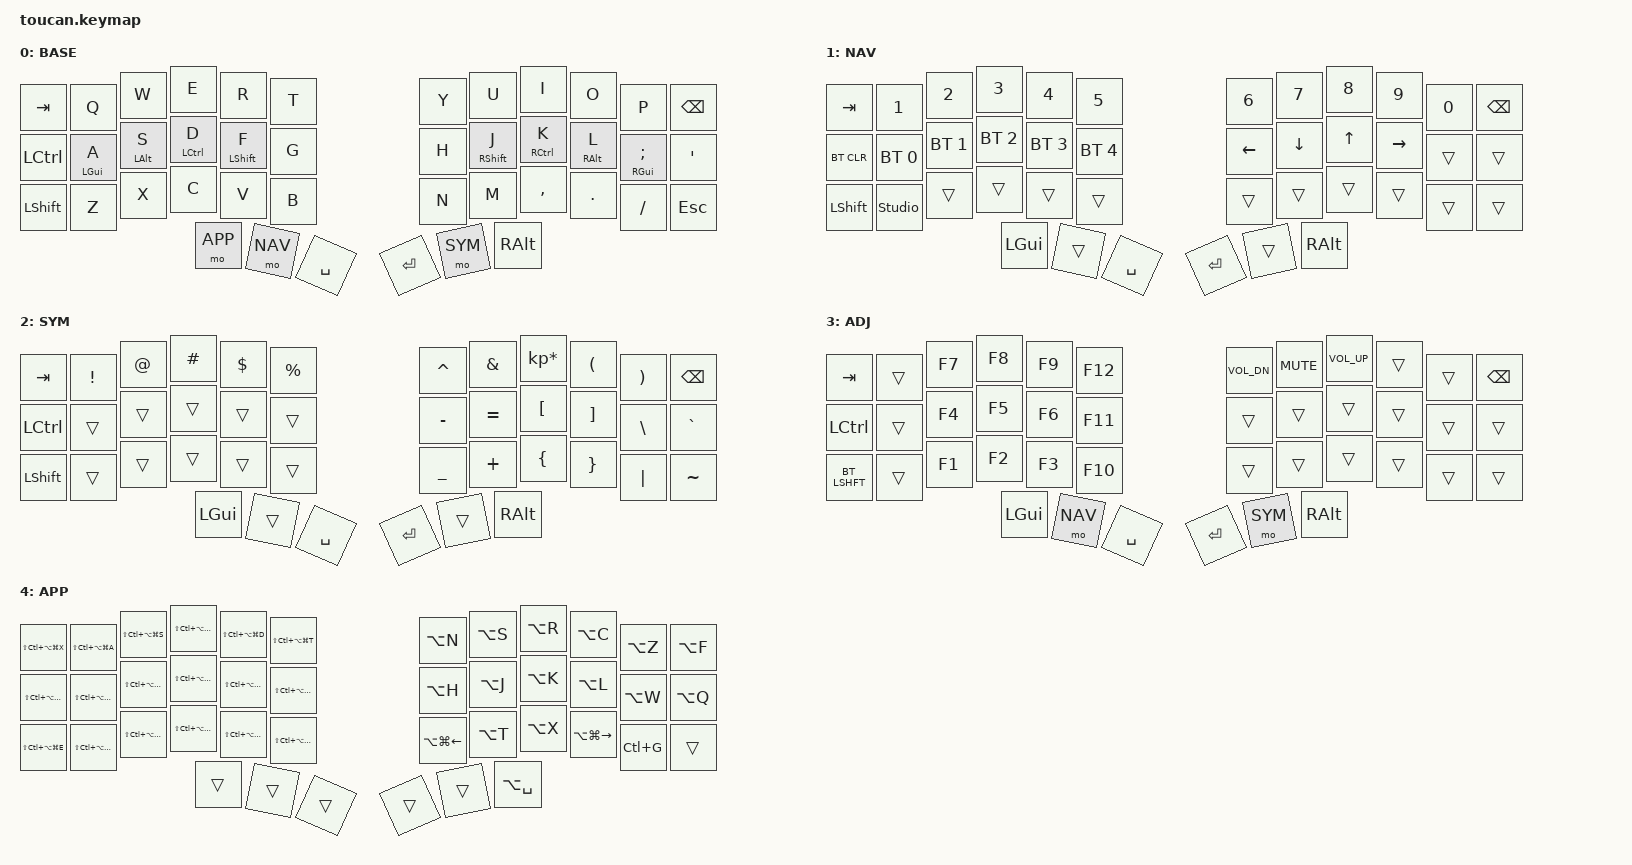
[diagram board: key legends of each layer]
#include <behaviors.dtsi>
#include <dt-bindings/zmk/keys.h>
#include <dt-bindings/zmk/bt.h>
#include <dt-bindings/zmk/outputs.h>

#define BASE 0
#define NAV  1
#define SYM  2
#define ADJ  3
#define APP  4

/ {
    behaviors {
        hml: home_row_mod_left {
            compatible = "zmk,behavior-hold-tap";
            #binding-cells = <2>;
            flavor = "balanced";
            tapping-term-ms = <280>;
            quick-tap-ms = <175>;
            require-prior-idle-ms = <150>;
            bindings = <&kp>, <&kp>;
            hold-trigger-key-positions = <6 7 8 9 10 11 18 19 20 21 22 23 30 31 32 33 34 35 39 40 41>;
            hold-trigger-on-release;
        };
        hmr: home_row_mod_right {
            compatible = "zmk,behavior-hold-tap";
            #binding-cells = <2>;
            flavor = "balanced";
            tapping-term-ms = <280>;
            quick-tap-ms = <175>;
            require-prior-idle-ms = <150>;
            bindings = <&kp>, <&kp>;
            hold-trigger-key-positions = <0 1 2 3 4 5 12 13 14 15 16 17 24 25 26 27 28 29 36 37 38>;
            hold-trigger-on-release;
        };
    };

    conditional_layers {
        compatible = "zmk,conditional-layers";
        tri_layer {
            if-layers = <1 2>;
            then-layer = <3>;
        };
    };

    keymap {
        compatible = "zmk,keymap";

        base {
            display-name = "BASE";
            bindings = <
                &kp TAB   &kp Q &kp W &kp E &kp R &kp T   &kp Y &kp U  &kp I     &kp O   &kp P    &kp BSPC
                &kp LCTRL &hml LGUI A &hml LALT S &hml LCTRL D &hml LSHFT F &kp G   &kp H &hmr RSHFT J  &hmr RCTRL K     &hmr RALT L   &hmr RGUI SEMI &kp SQT
                &kp LSHFT &kp Z &kp X &kp C &kp V &kp B   &kp N &kp M  &kp COMMA &kp DOT &kp FSLH &kp ESC
                                &mo APP &mo NAV &kp SPACE   &kp RET &mo SYM &kp RALT
            >;
        };

        nav {
            display-name = "NAV";
            bindings = <
                &kp TAB     &kp N1          &kp N2       &kp N3       &kp N4       &kp N5         &kp N6   &kp N7   &kp N8 &kp N9    &kp N0 &kp BSPC
                &bt BT_CLR  &bt BT_SEL 0    &bt BT_SEL 1 &bt BT_SEL 2 &bt BT_SEL 3 &bt BT_SEL 4   &kp LEFT &kp DOWN &kp UP &kp RIGHT &trans &trans
                &kp LSHFT   &studio_unlock  &trans       &trans       &trans       &trans         &trans   &trans   &trans &trans    &trans &trans
                                                &kp LGUI     &trans       &kp SPACE      &kp RET  &trans   &kp RALT
            >;
        };

        sym {
            display-name = "SYM";
            bindings = <
                &kp TAB   &kp EXCL &kp AT &kp HASH &kp DLLR &kp PRCNT   &kp CARET &kp AMPS  &kp KP_MULTIPLY &kp LPAR &kp RPAR &kp BSPC
                &kp LCTRL &trans   &trans &trans   &trans   &trans      &kp MINUS &kp EQUAL &kp LBKT        &kp RBKT &kp BSLH &kp GRAVE
                &kp LSHFT &trans   &trans &trans   &trans   &trans      &kp UNDER &kp PLUS  &kp LBRC        &kp RBRC &kp PIPE &kp TILDE
                                          &kp LGUI &trans   &kp SPACE   &kp RET   &trans    &kp RALT
            >;
        };

        adj {
            display-name = "ADJ";
            bindings = <
                &kp TAB   &trans &kp F7 &kp F8 &kp F9 &kp F12   &kp C_VOL_DN &kp C_MUTE  &kp C_VOL_UP &trans &trans &kp BSPC
                &kp LCTRL &trans &kp F4 &kp F5 &kp F6 &kp F11   &trans       &trans      &trans       &trans &trans &trans
                &bt LSHFT &trans &kp F1 &kp F2 &kp F3 &kp F10   &trans       &trans      &trans       &trans &trans &trans
                                   &kp LGUI &mo NAV &kp SPACE   &kp RET &mo SYM &kp RALT
            >;
        };
        app {
            display-name = "APP";
            bindings = <
                &kp LS(LC(LA(LG(X))))    &kp LS(LC(LA(LG(A))))     &kp LS(LC(LA(LG(S))))     &kp LS(LC(LA(LG(W))))     &kp LS(LC(LA(LG(D))))     &kp LS(LC(LA(LG(T))))     &kp LA(N)    &kp LA(S)   &kp LA(R)  &kp LA(C)    &kp LA(Z) &kp LA(F)
                &kp LS(LC(LA(LG(RET))))  &kp LS(LC(LA(LG(LEFT))))  &kp LS(LC(LA(LG(DOWN))))  &kp LS(LC(LA(LG(UP))))    &kp LS(LC(LA(LG(RIGHT)))) &kp LS(LC(LA(LG(M))))     &kp LA(H)    &kp LA(J)   &kp LA(K)  &kp LA(L)    &kp LA(W) &kp LA(Q)
                &kp LS(LC(LA(LG(E))))    &kp LS(LC(LA(LG(F1))))    &kp LS(LC(LA(LG(F2))))    &kp LS(LC(LA(LG(F3))))    &kp LS(LC(LA(LG(F4))))    &kp LS(LC(LA(LG(F5))))    &kp LA(LG(LEFT)) &kp LA(T) &kp LA(X) &kp LA(LG(RIGHT)) &kp LC(G) &trans
                                                                                               &trans &trans &trans   &trans &trans &kp LA(SPACE)
            >;
        };

        extra_2 {
                status = "reserved";
        };

        extra_3 {
                status = "reserved";
        };
    };
};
